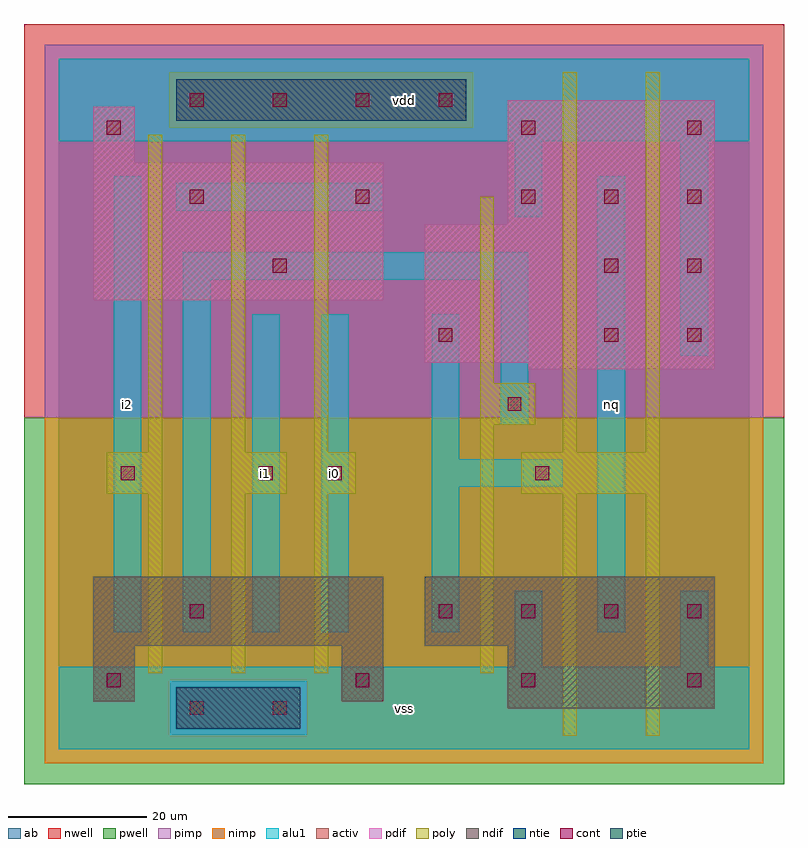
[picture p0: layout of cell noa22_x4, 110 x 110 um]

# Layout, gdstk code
import gdstk
lib = gdstk.Library(unit=1e-6, precision=1e-09)
def R(c, l, rs):  # rectangles x0, y0, x1, y1
    for r in rs: c.add(gdstk.rectangle(r[:2], r[2:], *l))
def A(c, l, x, y, w, h, nx, ny, dx, dy):  # array of equal rectangles
    R(c, l, [(x+i*dx, y+j*dy, x+i*dx+w, y+j*dy+h) for i in range(nx) for j in range(ny)])
ndif = (3, 0)
pdif = (4, 0)
ntie = (5, 0)
ptie = (6, 0)
cont = (25, 0)
pwell = (41, 0)
nwell = (42, 0)
activ = (43, 0)
pimp = (44, 0)
nimp = (45, 0)
poly = (46, 0)
alu1 = (49, 0)
ab = (63, 0)

noa22_x4 = lib.new_cell('noa22_x4')
R(noa22_x4, ndif, [(65,6,95,15), (5,7,11,15), (41,7,47,15), (5,15,47,25), (53,15,95,25)])
R(noa22_x4, pdif, [(68,55,95,56), (53,56,95,76), (5,65,47,85), (65,76,95,94), (5,85,11,93)])
R(noa22_x4, ntie, [(17,91,59,97)])
R(noa22_x4, ptie, [(17,3,35,9)])
A(noa22_x4, cont, 43, 9, 2, 2, 3, 1, 24, 0)
A(noa22_x4, cont, 55, 19, 2, 2, 4, 1, 12, 0)
A(noa22_x4, cont, 79, 59, 2, 2, 1, 3, 0, 10)
A(noa22_x4, cont, 91, 59, 2, 2, 1, 4, 0, 10)
A(noa22_x4, cont, 19, 79, 2, 2, 3, 1, 24, 0)
A(noa22_x4, cont, 19, 93, 2, 2, 4, 1, 12, 0)
R(noa22_x4, cont, [(19,5,21,7), (31,5,33,7), (7,9,9,11), (19,19,21,21), (9,39,11,41), (29,39,31,41), (39,39,41,41), (69,39,71,41), (65,49,67,51), (55,59,57,61), (31,69,33,71), (7,89,9,91), (67,89,69,91)])
R(noa22_x4, pwell, [(-5,-5,105,48)])
R(noa22_x4, nwell, [(-5,48,105,105)])
R(noa22_x4, activ, [(17,3,35,9), (65,6,95,15), (5,7,11,15), (41,7,47,15), (5,15,47,25), (53,15,95,25), (68,55,95,56), (53,56,95,76), (5,65,47,85), (65,76,95,94), (5,85,11,93), (17,91,59,97)])
R(noa22_x4, pimp, [(16,2,36,10), (-2,48,102,90), (-2,90,16,98), (60,90,102,98), (-2,98,102,102)])
R(noa22_x4, nimp, [(-2,-2,102,2), (-2,2,16,10), (36,2,102,10), (-2,10,102,48), (16,90,60,98)])
A(noa22_x4, poly, 13, 11, 2, 26, 3, 1, 12, 0)
A(noa22_x4, poly, 13, 43, 2, 46, 3, 1, 12, 0)
R(noa22_x4, poly, [(73,2,75,37), (85,2,87,37), (61,11,63,47), (7,37,15,43), (25,37,33,43), (37,37,43,43), (67,37,87,43), (73,43,75,98), (85,43,87,98), (61,47,69,53), (61,53,63,80)])
R(noa22_x4, alu1, [(0,0,100,12), (66,12,70,23), (90,12,94,23), (8,17,12,83), (18,17,22,68), (28,17,32,63), (38,17,42,63), (54,17,58,38), (78,17,82,83), (54,38,73,42), (54,42,58,63), (64,47,68,68), (90,57,94,88), (18,68,68,72), (66,77,70,88), (17,78,47,82), (0,88,100,100)])
R(noa22_x4, ab, [(0,0,100,100)])
noa22_x4.add(gdstk.Label('i2', (10,50), layer=49, texttype=0))
noa22_x4.add(gdstk.Label('i0', (40,40), layer=49, texttype=0))
noa22_x4.add(gdstk.Label('i1', (30,40), layer=49, texttype=0))
noa22_x4.add(gdstk.Label('vss', (50,6), layer=49, texttype=0))
noa22_x4.add(gdstk.Label('vdd', (50,94), layer=49, texttype=0))
noa22_x4.add(gdstk.Label('nq', (80,50), layer=49, texttype=0))

lib.write_gds('noa22_x4.gds')
